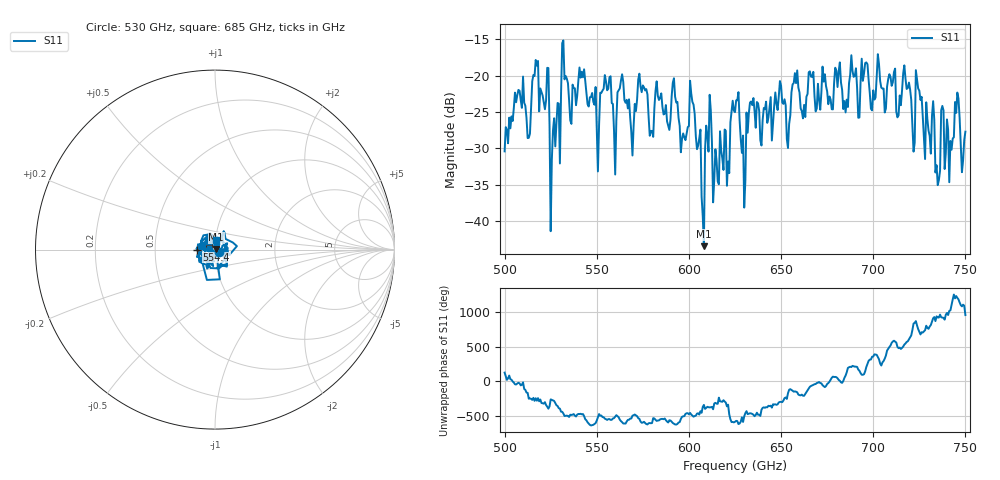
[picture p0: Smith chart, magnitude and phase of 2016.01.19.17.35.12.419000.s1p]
!Created with skrf (http://scikit-rf.org).
# GHz S RI R 50.0
!freq ReS11 ImS11
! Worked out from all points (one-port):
!   401 points, 500 GHz to 750 GHz, reference 50 ohm
!   lowest |S11| = -43.5 dB at 608.1 GHz (marker M1), VSWR 1.01, Z = 50.6 + j0.223 ohm
!   |S11| at or under -10 dB: start of sweep to end of sweep
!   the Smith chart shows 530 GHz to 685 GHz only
!   S11 on the Smith chart (normalised r, x): 530 GHz: 1.04, -0.03; 554.4 GHz: 0.82, -0.00; 685 GHz: 1.00, +0.11
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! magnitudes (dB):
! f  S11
! 500 GHz  -30.4
! 506.9 GHz  -22.7
! 513.1 GHz  -28.5
! 516.9 GHz  -17.8
! 526.2 GHz  -27.5
! 530 GHz  -32.1
! 531.2 GHz  -15.5
! 550 GHz  -27.3
! 554.4 GHz  -19.9
! 559.4 GHz  -27.7
! 562.5 GHz  -21.7
! 569.4 GHz  -31.0
! 573.8 GHz  -21.5
! 593.8 GHz  -23.6
! 601.9 GHz  -23.6
! 608.1 GHz  -43.5
! 610.6 GHz  -30.4
! 614.4 GHz  -30.1
! 625 GHz  -25.0
! 629.4 GHz  -28.2
! 633.8 GHz  -23.5
! 656.2 GHz  -21.2
! 685 GHz  -25.0
! 687.5 GHz  -19.8
! 718.8 GHz  -21.7
! 735 GHz  -35.1
! 745.6 GHz  -22.3
! 750 GHz  -27.7
